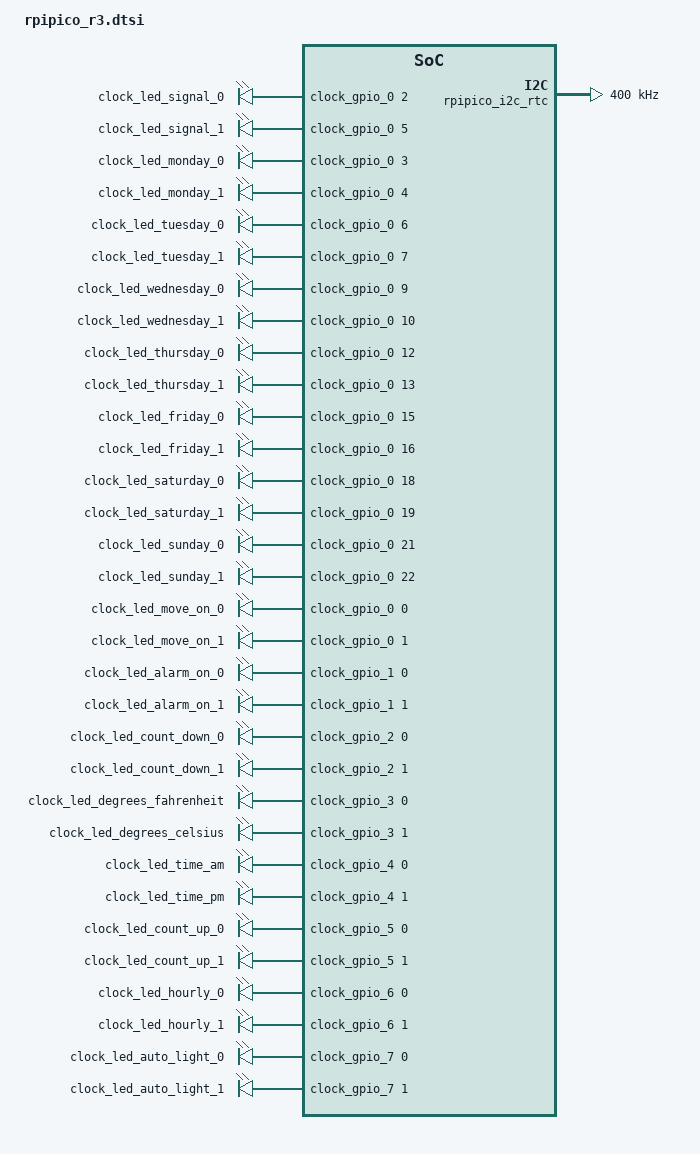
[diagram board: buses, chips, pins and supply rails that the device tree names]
/*
 * Copyright (c) 2023-2024 TiaC Systems
 * SPDX-License-Identifier: Apache-2.0
 */

clock_i2c_rtc: &rpipico_i2c_rtc {};
clock_spi_leds: &rpipico_spi_leds {};
clock_gpio_keys: &rpipico_gpio_keys {};
clock_pwm_buzzers: &rpipico_pwm_buzzers {};

#include "ds3231-mfd.dtsi"
#include "led_matrix.dtsi"
#include "led_matrix-boot_hogs.dtsi"

#include <zephyr/dt-bindings/gpio/gpio.h>
#include <zephyr/dt-bindings/pwm/pwm.h>

&clock_dts {
	status = "okay";
};

&clock_rtc {
	status = "okay";
};

&clock_mfd {							/* GP3 */
	isw-gpios = <&rpipico_header 3 (GPIO_PULL_UP | GPIO_ACTIVE_LOW)>;
	status = "okay";
};

&clock_i2c_rtc {
	clock-frequency = <I2C_BITRATE_FAST>;
};

&clock_display {
	status = "okay";
};

&clock_led_signal_0 {
	gpios = <&clock_gpio_0 2 GPIO_ACTIVE_HIGH>;		/* SIG0 */
};
&clock_led_signal_1 {
	gpios = <&clock_gpio_0 5 GPIO_ACTIVE_HIGH>;		/* SIG1 */
};

&clock_led_monday_0 {
	gpios = <&clock_gpio_0 3 GPIO_ACTIVE_HIGH>;		/* MON0 */
};
&clock_led_monday_1 {
	gpios = <&clock_gpio_0 4 GPIO_ACTIVE_HIGH>;		/* MON1 */
};

&clock_led_tuesday_0 {
	gpios = <&clock_gpio_0 6 GPIO_ACTIVE_HIGH>;		/* TUE0 */
};
&clock_led_tuesday_1 {
	gpios = <&clock_gpio_0 7 GPIO_ACTIVE_HIGH>;		/* TUE1 */
};

&clock_led_wednesday_0 {
	gpios = <&clock_gpio_0 9 GPIO_ACTIVE_HIGH>;		/* WED0 */
};
&clock_led_wednesday_1 {
	gpios = <&clock_gpio_0 10 GPIO_ACTIVE_HIGH>;		/* WED1 */
};

&clock_led_thursday_0 {
	gpios = <&clock_gpio_0 12 GPIO_ACTIVE_HIGH>;		/* THU0 */
};
&clock_led_thursday_1 {
	gpios = <&clock_gpio_0 13 GPIO_ACTIVE_HIGH>;		/* THU1 */
};

&clock_led_friday_0 {
	gpios = <&clock_gpio_0 15 GPIO_ACTIVE_HIGH>;		/* FRI0 */
};
&clock_led_friday_1 {
	gpios = <&clock_gpio_0 16 GPIO_ACTIVE_HIGH>;		/* FRI1 */
};

&clock_led_saturday_0 {
	gpios = <&clock_gpio_0 18 GPIO_ACTIVE_HIGH>;		/* SAT0 */
};
&clock_led_saturday_1 {
	gpios = <&clock_gpio_0 19 GPIO_ACTIVE_HIGH>;		/* SAT1 */
};

&clock_led_sunday_0 {
	gpios = <&clock_gpio_0 21 GPIO_ACTIVE_HIGH>;		/* SUN0 */
};
&clock_led_sunday_1 {
	gpios = <&clock_gpio_0 22 GPIO_ACTIVE_HIGH>;		/* SUN1 */
};

&clock_led_move_on_0 {
	gpios = <&clock_gpio_0 0 GPIO_ACTIVE_HIGH>;		/* MOV0 */
};
&clock_led_move_on_1 {
	gpios = <&clock_gpio_0 1 GPIO_ACTIVE_HIGH>;		/* MOV1 */
};

&clock_led_alarm_on_0 {
	gpios = <&clock_gpio_1 0 GPIO_ACTIVE_HIGH>;		/* ALM0 */
};
&clock_led_alarm_on_1 {
	gpios = <&clock_gpio_1 1 GPIO_ACTIVE_HIGH>;		/* ALM1 */
};

&clock_led_count_down_0 {
	gpios = <&clock_gpio_2 0 GPIO_ACTIVE_HIGH>;		/* CDN0 */
};
&clock_led_count_down_1 {
	gpios = <&clock_gpio_2 1 GPIO_ACTIVE_HIGH>;		/* CDN1 */
};

&clock_led_degrees_fahrenheit {
	gpios = <&clock_gpio_3 0 GPIO_ACTIVE_HIGH>;		/* DEGF */
};
&clock_led_degrees_celsius {
	gpios = <&clock_gpio_3 1 GPIO_ACTIVE_HIGH>;		/* DEGC */
};

&clock_led_time_am {
	gpios = <&clock_gpio_4 0 GPIO_ACTIVE_HIGH>;		/* TMAM */
};
&clock_led_time_pm {
	gpios = <&clock_gpio_4 1 GPIO_ACTIVE_HIGH>;		/* TMPM */
};

&clock_led_count_up_0 {
	gpios = <&clock_gpio_5 0 GPIO_ACTIVE_HIGH>;		/* CUP0 */
};
&clock_led_count_up_1 {
	gpios = <&clock_gpio_5 1 GPIO_ACTIVE_HIGH>;		/* CUP1 */
};

&clock_led_hourly_0 {
	gpios = <&clock_gpio_6 0 GPIO_ACTIVE_HIGH>;		/* HLY0 */
};
&clock_led_hourly_1 {
	gpios = <&clock_gpio_6 1 GPIO_ACTIVE_HIGH>;		/* HLY1 */
};

&clock_led_auto_light_0 {
	gpios = <&clock_gpio_7 0 GPIO_ACTIVE_HIGH>;		/* AUT0 */
};
&clock_led_auto_light_1 {
	gpios = <&clock_gpio_7 1 GPIO_ACTIVE_HIGH>;		/* AUT1 */
};

&clock_gpio_0 {
	/* namespace and positions without LEDs or not wired bits */
	gpio-reserved-ranges =
		<8  1>, <11 1>,
		<14 1>, <17 1>,
		<20 1>, <23 1>;
	gpio-line-names =
		"MOV0", "MOV1", "SIG0",
		"MON0", "MON1", "SIG1",
		"TUE0", "TUE1", "",		/* not wired: <8  1> */
		"WED0", "WED1", "",		/* not wired: <11 1> */
		"THU0", "THU1", "",		/* not wired: <14 1> */
		"FRI0", "FRI1", "",		/* not wired: <17 1> */
		"SAT0", "SAT1", "",		/* not wired: <20 1> */
		"SUN0", "SUN1", "";		/* not wired: <23 1> */
	status = "okay";
};

&clock_gpio_1 {
	/* namespace and positions without LEDs or not wired bits */
	gpio-line-names =
		"ALM0", "ALM1", "L102", "L103",
		"L104", "L105", "L106", "L107",
		"L108", "L109", "L110", "L111",
		"L112", "L113", "L114", "L115",
		"L116", "L117", "L118", "L119",
		"L120", "L121", "L122", "L123"; /* not wired: <24 8> */
	status = "okay";
};

&clock_gpio_2 {
	/* namespace and positions without LEDs or not wired bits */
	gpio-line-names =
		"CDN0", "CDN1", "L202", "L203",
		"L204", "L205", "L206", "L207",
		"L208", "L209", "L210", "L211",
		"L212", "L213", "L214", "L215",
		"L216", "L217", "L218", "L219",
		"L220", "L221", "L222", "L223"; /* not wired: <24 8> */
	status = "okay";
};

&clock_gpio_3 {
	/* namespace and positions without LEDs or not wired bits */
	gpio-line-names =
		"DEGF", "DEGC", "L302", "L303",
		"L304", "L305", "L306", "L307",
		"L308", "L309", "L310", "L311",
		"L312", "L313", "L314", "L315",
		"L316", "L317", "L318", "L319",
		"L320", "L321", "L322", "L323"; /* not wired: <24 8> */
	status = "okay";
};

&clock_gpio_4 {
	/* namespace and positions without LEDs or not wired bits */
	gpio-line-names =
		"TMAM", "TMPM", "L402", "L403",
		"L404", "L405", "L406", "L407",
		"L408", "L409", "L410", "L411",
		"L412", "L413", "L414", "L415",
		"L416", "L417", "L418", "L419",
		"L420", "L421", "L422", "L423"; /* not wired: <24 8> */
	status = "okay";
};

&clock_gpio_5 {
	/* namespace and positions without LEDs or not wired bits */
	gpio-line-names =
		"CUP0", "CUP1", "L502", "L503",
		"L504", "L505", "L506", "L507",
		"L508", "L509", "L510", "L511",
		"L512", "L513", "L514", "L515",
		"L516", "L517", "L518", "L519",
		"L520", "L521", "L522", "L523"; /* not wired: <24 8> */
	status = "okay";
};

&clock_gpio_6 {
	/* namespace and positions without LEDs or not wired bits */
	gpio-line-names =
		"HLY0", "HLY1", "L602", "L603",
		"L604", "L605", "L606", "L607",
		"L608", "L609", "L610", "L611",
		"L612", "L613", "L614", "L615",
		"L616", "L617", "L618", "L619",
		"L620", "L621", "L622", "L623"; /* not wired: <24 8> */
	status = "okay";
};

&clock_gpio_7 {
	/* namespace and positions without LEDs or not wired bits */
	gpio-line-names =
		"AUT0", "AUT1", "L702", "L703",
		"L704", "L705", "L706", "L707",
		"L708", "L709", "L710", "L711",
		"L712", "L713", "L714", "L715",
		"L716", "L717", "L718", "L719",
		"L720", "L721", "L722", "L723"; /* not wired: <24 8> */
	status = "okay";
};

&clock_sipo_mux {
	oe-gpios = <&rpipico_header 13 GPIO_ACTIVE_LOW>;	/* OE:GP13 */
	addr-gpios = <&rpipico_header 16 GPIO_ACTIVE_HIGH>,	/* A0:GP16 */
		     <&rpipico_header 18 GPIO_ACTIVE_HIGH>,	/* A1:GP18 */
		     <&rpipico_header 22 GPIO_ACTIVE_HIGH>;	/* A2:GP22 */
	status = "okay";
};

&clock_spi_leds {
	pinctrl-0 = <&spi1_wpcg_leds>;
	pinctrl-names = "default";
	cs-gpios = <&rpipico_header 12 GPIO_ACTIVE_LOW>;	/* LE:GP12 */
};

&clock_btn_set_function {					/* GP2 */
	gpios = <&rpipico_header 2 (GPIO_PULL_UP | GPIO_ACTIVE_LOW)>;
};

&clock_btn_up {							/* GP17 */
	gpios = <&rpipico_header 17 (GPIO_PULL_UP | GPIO_ACTIVE_LOW)>;
};

&clock_btn_down {						/* GP15 */
	gpios = <&rpipico_header 15 (GPIO_PULL_UP | GPIO_ACTIVE_LOW)>;
};

&clock_gpio_keys {
	/* namespace and positions for buttons */
	gpio-line-names =
		"",	"",	"SET",	"",	/* 00..03 */
		"",	"",	"",	"",	/* 04..07 */
		"",	"",	"",	"",	/* 08..11 */
		"",	"",	"",	"DWN",	/* 12..15 */
		"",	"UP",	"",	"",	/* 16..19 */
		"",	"",	"",	"",	/* 20..23 */
		"",	"",	"",	"",	/* 24..27 */
		"",	"",	"",	"";	/* 28..31 */
};

&clock_pwm_buzzers {
	pinctrl-0 = <&pwm_wpcg_buzzer>;
	pinctrl-names = "default";
	divider-int-7 = <255>;
};

&clock_buzzer {							/* GP14 */
	pwms = <&pwm 14 PWM_HZ(880) PWM_POLARITY_NORMAL>;
};
